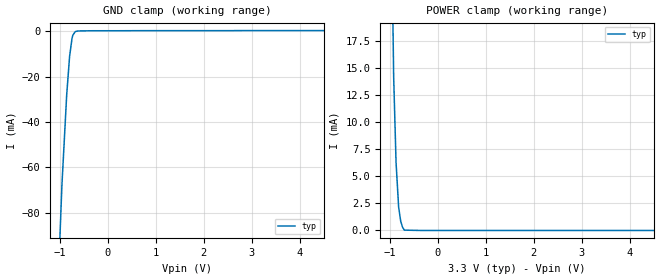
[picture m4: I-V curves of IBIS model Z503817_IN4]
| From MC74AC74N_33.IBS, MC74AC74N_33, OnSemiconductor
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| (C) COPYRIGHT 1993-2000
| MENTOR GRAPHICS CORPORATION
| ICX STANDARD LIBRARY, ICX PROJECT MODELING,
| ICX CUSTOM MODELING, ICX VENDOR MODEL
| ALL RIGHTS RESERVED.
| THE FOLLOWING ARE TRADEMARKS OR SERVICE MARKS OF
| MENTOR GRAPHICS CORPORATION:ICX (R), ICX STANDARD
| LIBRARY(R), ICX PROJECT MODELING(R), ICX CUSTOM
| MODELING(R), qualityIBIS(TM), MODELVIEWER(TM),
| AND MODELEDITOR(TM)
| ALL COPIES OF SOFTWARE, INCLUDING BUT NOT LIMITED TO
| ANY MODIFICATIONS, ENHANCEMENTS OR DERIVATIVE WORKS,
| MUST CONTAIN ALL MENTOR GRAPHICS CORPORATION'S
| NOTICES AND LEGENDS, INCLUDING THOSE EMBEDDED IN
| SOFTWARE AND THOSE AFFIXED TO SOFTWARE MEDIUM
| AND CONTAINER, AS RECEIVED FROM MENTOR GRAPHICS
| CORPORATION.
| Model Application Version 1.89 2/18/99.
[Model] Z503817_IN4
Model_type Input
Vinl = 990.0mV
Vinh = 2.310V
C_comp 4.000pF NA NA
| variable typ   min   max
[Voltage Range] 3.300V NA NA
[GND Clamp Reference] 0.000V NA NA
[POWER Clamp Reference] 3.300V NA NA
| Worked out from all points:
|   GND clamp passes 1 mA (typ) near -0.70 V on its own axis
|   POWER clamp passes 1 mA (typ) near -0.78 V on its own axis
[GND Clamp]
-3.3V     -1.951A    NA         NA
-1.006V   -94.47mA   NA         NA
-956.5mV  -67.55mA   NA         NA
-858.1mV  -28.15mA   NA         NA
-797mV    -11.04mA   NA         NA
-747.1mV  -3.259mA   NA         NA
-730.6mV  -1.858mA   NA         NA
-667.8mV  -143.4uA   NA         NA
-314.2mV  167.9uA    NA         NA
6.6V      249.2uA    NA         NA
[POWER Clamp]
-3.3V     1.434A     NA         NA
-1.153V   116.1mA    NA         NA
-1.012V   43.54mA    NA         NA
-921mV    14.18mA    NA         NA
-871mV    6.253mA    NA         NA
-817mV    2.132mA    NA         NA
-774mV    853.8uA    NA         NA
-736mV    305.5uA    NA         NA
-698mV    30.4uA     NA         NA
-349mV    0A         NA         NA
6.6V      0A         NA         NA
